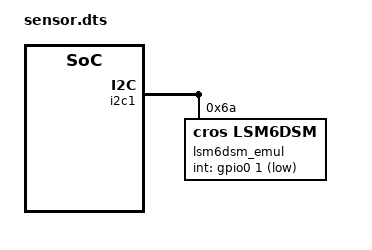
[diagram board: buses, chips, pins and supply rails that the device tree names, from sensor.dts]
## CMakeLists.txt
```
# Copyright 2025 The ChromiumOS Authors
# Use of this source code is governed by a BSD-style license that can be
# found in the LICENSE file.

# Add source files
target_sources(app PRIVATE src/main.c)
```

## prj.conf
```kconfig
# Copyright 2025 The ChromiumOS Authors
# Use of this source code is governed by a BSD-style license that can be
# found in the LICENSE file.

CONFIG_PLATFORM_EC_ACCELGYRO_LSM6DSM=y

CONFIG_LOG=y
CONFIG_LOG_MODE_MINIMAL=y
CONFIG_POSIX_ARCH_CONSOLE_INIT_PRIORITY=98
CONFIG_PLATFORM_EC_CONSOLE_INIT_PRIORITY=99

# LOG_MODE_MININAL sends output to printk.  CONFIG_PLATFORM_EC_CONSOLE_DEBUG
# also uses printk and causes duplicate output.
CONFIG_PLATFORM_EC_CONSOLE_DEBUG=n
CONFIG_SENSOR_LOG_LEVEL_DBG=y
```

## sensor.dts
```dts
/* Copyright 2025 The ChromiumOS Authors
 * Use of this source code is governed by a BSD-style license that can be
 * found in the LICENSE file.
 */

#include "dt-bindings/gpio_defines.h"
#include <dt-bindings/motionsense/utils.h>

/ {
  aliases {
		lsm6dsm-int = &ms_lsm6dsm_accel;
		/delete-property/ bmi160-int;
		/delete-property/ bmi260-int;
		/delete-property/ tcs3400-int;
		/delete-property/ on-body-sensor;
  };

  motionsense-mutex {
		mutex_lsm6dsm: lsm6dsm-mutex {
		};
  };

  motionsense-sensor-data {
		lsm6dsm_data_accel: lsm6dsm-accel-drv-data {
			compatible = "cros-ec,drvdata-lsm6dsm";
			status = "okay";
		};

		lsm6dsm_data_gyro: lsm6dsm-gyro-drv-data {
			compatible = "cros-ec,drvdata-lsm6dsm";
			status = "okay";
		};
  };

  motionsense-sensor {

		lid_accel: ms-bma4xx {};

		base_accel: ms_lsm6dsm_accel: ms-lsm6dsm-accel {
			compatible = "cros-ec,lsm6dsm-accel";
			status = "okay";

			active-mask = "SENSOR_ACTIVE_S0_S3_S5";
			location = "MOTIONSENSE_LOC_BASE";
			mutex = <&mutex_lsm6dsm>;
			port = <&named_i2c1>;
			drv-data = <&lsm6dsm_data_accel>;
			configs {
				compatible =
					"cros-ec,motionsense-sensor-config";
				ec-s0 {
					odr = <(10000 | ROUND_UP_FLAG)>;
				};
				ec-s3 {
					odr = <(10000 | ROUND_UP_FLAG)>;
					ec-rate = <(100 * USEC_PER_MSEC)>;
				};
			};
		};

		ms_lsm6dsm_gyro: ms-lsm6dsm-gyro {
			compatible = "cros-ec,lsm6dsm-gyro";
			status = "okay";

			active-mask = "SENSOR_ACTIVE_S0_S3_S5";
			location = "MOTIONSENSE_LOC_BASE";
			mutex = <&mutex_lsm6dsm>;
			port = <&named_i2c1>;
			drv-data = <&lsm6dsm_data_gyro>;
		};
  };

	motionsense-sensor-info {
		accel-force-mode-sensors = <&ms_bma4xx>;
		sensor-irqs = <&base_imu>;
	};

	gpio-interrupts {
		compatible = "cros-ec,gpio-interrupts";

		base_imu: base-imu {
			irq-pin = <&gpio_base_imu_int_l>;
			flags = <GPIO_INT_EDGE_FALLING>;
			handler = "lsm6dsm_interrupt";
		};
	};
	named-gpios {
		compatible = "named-gpios";
		gpio_base_imu_int_l: imu_base_l {
			gpios = <&gpio0 1 (GPIO_INPUT | GPIO_ACTIVE_LOW)>;
		};
	};
};

&i2c1 {
		lsm6dsm_emul: lsm6dsm@6a {
			compatible = "cros,lsm6dsm";
			status = "okay";
			reg = <0x6a>;
			int-gpios = <&gpio0 1 GPIO_ACTIVE_LOW>;
		};
};

/delete-node/ &ms_bma255;
/delete-node/ &ms_bmi260_accel;
/delete-node/ &ms_bmi260_gyro;
/delete-node/ &ms_bmi160_accel;
/delete-node/ &ms_bmi160_gyro;
/delete-node/ &ms_lis2dw12_accel;
/delete-node/ &tcs3400_clear;
/delete-node/ &tcs3400_rgb;
/delete-node/ &accel_bmi160;
/delete-node/ &bma422_emul;
=======
/* Copyright 2025 The ChromiumOS Authors
 * Use of this source code is governed by a BSD-style license that can be
 * found in the LICENSE file.
 */

#include "dt-bindings/gpio_defines.h"
#include <dt-bindings/motionsense/utils.h>

/ {
  aliases {
		lsm6dsm-int = &ms_lsm6dsm_accel;
		/delete-property/ bmi160-int;
		/delete-property/ bmi260-int;
		/delete-property/ tcs3400-int;
		/delete-property/ default-on-body-sensor;
  };

  motionsense-mutex {
		mutex_lsm6dsm: lsm6dsm-mutex {
		};
  };

  motionsense-sensor-data {
		lsm6dsm_data_accel: lsm6dsm-accel-drv-data {
			compatible = "cros-ec,drvdata-lsm6dsm";
			status = "okay";
		};

		lsm6dsm_data_gyro: lsm6dsm-gyro-drv-data {
			compatible = "cros-ec,drvdata-lsm6dsm";
			status = "okay";
		};
  };

  motionsense-sensor {

		lid_accel: ms-bma4xx {};

		base_accel: ms_lsm6dsm_accel: ms-lsm6dsm-accel {
			compatible = "cros-ec,lsm6dsm-accel";
			status = "okay";

			active-mask = "SENSOR_ACTIVE_S0_S3_S5";
			location = "MOTIONSENSE_LOC_BASE";
			mutex = <&mutex_lsm6dsm>;
			port = <&named_i2c1>;
			drv-data = <&lsm6dsm_data_accel>;
			configs {
				compatible =
					"cros-ec,motionsense-sensor-config";
				ec-s0 {
					odr = <(10000 | ROUND_UP_FLAG)>;
				};
				ec-s3 {
					odr = <(10000 | ROUND_UP_FLAG)>;
					ec-rate = <(100 * USEC_PER_MSEC)>;
				};
			};
		};

		ms_lsm6dsm_gyro: ms-lsm6dsm-gyro {
			compatible = "cros-ec,lsm6dsm-gyro";
			status = "okay";

			active-mask = "SENSOR_ACTIVE_S0_S3_S5";
			location = "MOTIONSENSE_LOC_BASE";
			mutex = <&mutex_lsm6dsm>;
			port = <&named_i2c1>;
			drv-data = <&lsm6dsm_data_gyro>;
		};
  };

	motionsense-sensor-info {
		accel-force-mode-sensors = <&ms_bma4xx>;
		sensor-irqs = <&base_imu>;
	};

	gpio-interrupts {
		compatible = "cros-ec,gpio-interrupts";

		base_imu: base-imu {
			irq-pin = <&gpio_base_imu_int_l>;
			flags = <GPIO_INT_EDGE_FALLING>;
			handler = "lsm6dsm_interrupt";
		};
	};
	named-gpios {
		compatible = "named-gpios";
		gpio_base_imu_int_l: imu_base_l {
			gpios = <&gpio0 1 (GPIO_INPUT | GPIO_ACTIVE_LOW)>;
		};
	};
};

&i2c1 {
		lsm6dsm_emul: lsm6dsm@6a {
			compatible = "cros,lsm6dsm";
			status = "okay";
			reg = <0x6a>;
			int-gpios = <&gpio0 1 GPIO_ACTIVE_LOW>;
		};
};

/delete-node/ &ms_bma255;
/delete-node/ &ms_bmi260_accel;
/delete-node/ &ms_bmi260_gyro;
/delete-node/ &ms_bmi160_accel;
/delete-node/ &ms_bmi160_gyro;
/delete-node/ &ms_lis2dw12_accel;
/delete-node/ &tcs3400_clear;
/delete-node/ &tcs3400_rgb;
/delete-node/ &accel_bmi160;
/delete-node/ &bma422_emul;
```

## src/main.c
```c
/* Copyright 2025 The ChromiumOS Authors
 * Use of this source code is governed by a BSD-style license that can be
 * found in the LICENSE file.
 */

#include "driver/accelgyro_lsm6dsm_public.h"
#include "emul/emul_lsm6dsm.h"
#include "motion_sense.h"
#include "motion_sense_fifo.h"
#include "test/drivers/test_state.h"

#include <zephyr/drivers/gpio.h>
#include <zephyr/ztest.h>

#define LSM6DSM_NODE DT_NODELABEL(lsm6dsm_emul)
#define ACC_SENSOR_ID SENSOR_ID(DT_NODELABEL(ms_lsm6dsm_accel))
#define GYR_SENSOR_ID SENSOR_ID(DT_NODELABEL(ms_lsm6dsm_gyro))

static const struct emul *emul = EMUL_DT_GET(LSM6DSM_NODE);
static struct motion_sensor_t *acc = &motion_sensors[ACC_SENSOR_ID];
// static struct motion_sensor_t *gyr = &motion_sensors[GYR_SENSOR_ID];

ZTEST_SUITE(lsm6dsm, drivers_predicate_post_main, NULL, NULL, NULL, NULL);

ZTEST(lsm6dsm, test_disable_interrupt)
{
	static struct ec_response_motion_sensor_data data[2];

	const struct gpio_dt_spec spec =
		GPIO_DT_SPEC_GET(LSM6DSM_NODE, int_gpios);
	int count;
	uint16_t read_byte_count;

	/* Set data rate to 10Hz, without this the FIFO will never be enabled */
	acc->config[SENSOR_CONFIG_AP].odr = 13000;
	acc->drv->set_data_rate(acc, 13000, 1);
	/* Set the oversampling ratio to 1 so we don't drop any samples. */
	// acc->oversampling_ratio = 1;
	k_msleep(100);

	/* The lsm6dsm throws away a few samples after an ODR change, burn
	 * through those so that the next sample would get on the FIFO if
	 * enabled.
	 */
	for (int i = 0; i < LSM6DSM_DISCARD_SAMPLES; ++i) {
		emul_lsm6dsm_append_sample(emul, MOTIONSENSE_TYPE_ACCEL, 1.0f,
					   0.0f, 0.0f);
	}

	/* Disable the interrupts */
	acc->drv->enable_interrupt(acc, false);

	/* Clear out the soft motionsense FIFO */
	motion_sense_fifo_reset();

	/* Add an accel sample (1g, 0g, 0g) */
	emul_lsm6dsm_append_sample(emul, MOTIONSENSE_TYPE_ACCEL, 1.0f, 0.0f,
				   0.0f);
	k_msleep(100);

	/* Interrupt should be deasserted and no events should be on the FIFO */
	count = motion_sense_fifo_read(sizeof(data), 2, data, &read_byte_count);
	zassert_equal(0, gpio_pin_get_dt(&spec));
	zassert_equal(0, count, "FIFO had %d entries", count);
	zassert_equal(0, read_byte_count, "FIFO read %u bytes",
		      read_byte_count);

	/* Flush the FIFO */
	uint32_t event = CONFIG_ACCEL_LSM6DSM_INT_EVENT;
	zassert_equal(EC_SUCCESS, acc->drv->irq_handler(acc, &event));

	/* Enable the interrupts */
	acc->drv->enable_interrupt(acc, true);

	/* Add another accel sample (1g, 0g, 0g) */
	emul_lsm6dsm_append_sample(emul, MOTIONSENSE_TYPE_ACCEL, 1.0f, 0.0f,
				   0.0f);

	/* Interrupt should be asserted */
	zassert_equal(1, gpio_pin_get_dt(&spec));

	/* After we sleep, the motion sense loop should read the sample */
	k_msleep(100);
	count = motion_sense_fifo_read(sizeof(data), 2, data, &read_byte_count);
	zassert_equal(0, gpio_pin_get_dt(&spec));
	zassert_equal(2, count, "FIFO had %d entries", count);
	zassert_equal(sizeof(data), read_byte_count, "FIFO read %u bytes",
		      read_byte_count);
	/* First sample should be a timestamp */
	zassert_equal(MOTIONSENSE_SENSOR_FLAG_TIMESTAMP, data[0].flags,
		      "Flags was %u", data[0].flags);
	zassert_equal(ACC_SENSOR_ID, data[0].sensor_num,
		      "Sensor # expected %d, was %u", ACC_SENSOR_ID,
		      data[0].sensor_num);

	/* Second sample is the data */
	zassert_equal(0, data[1].flags, "Flags was %u", data[1].flags);
	zassert_equal(ACC_SENSOR_ID, data[1].sensor_num,
		      "Sensor # expected %d, was %u", ACC_SENSOR_ID,
		      data[1].sensor_num);
	zassert_within(INT16_MAX / acc->current_range, data[1].data[X], 1);
	zassert_within(0x0000, data[1].data[Y], 1);
	zassert_within(0x0000, data[1].data[Z], 1);
}
```
